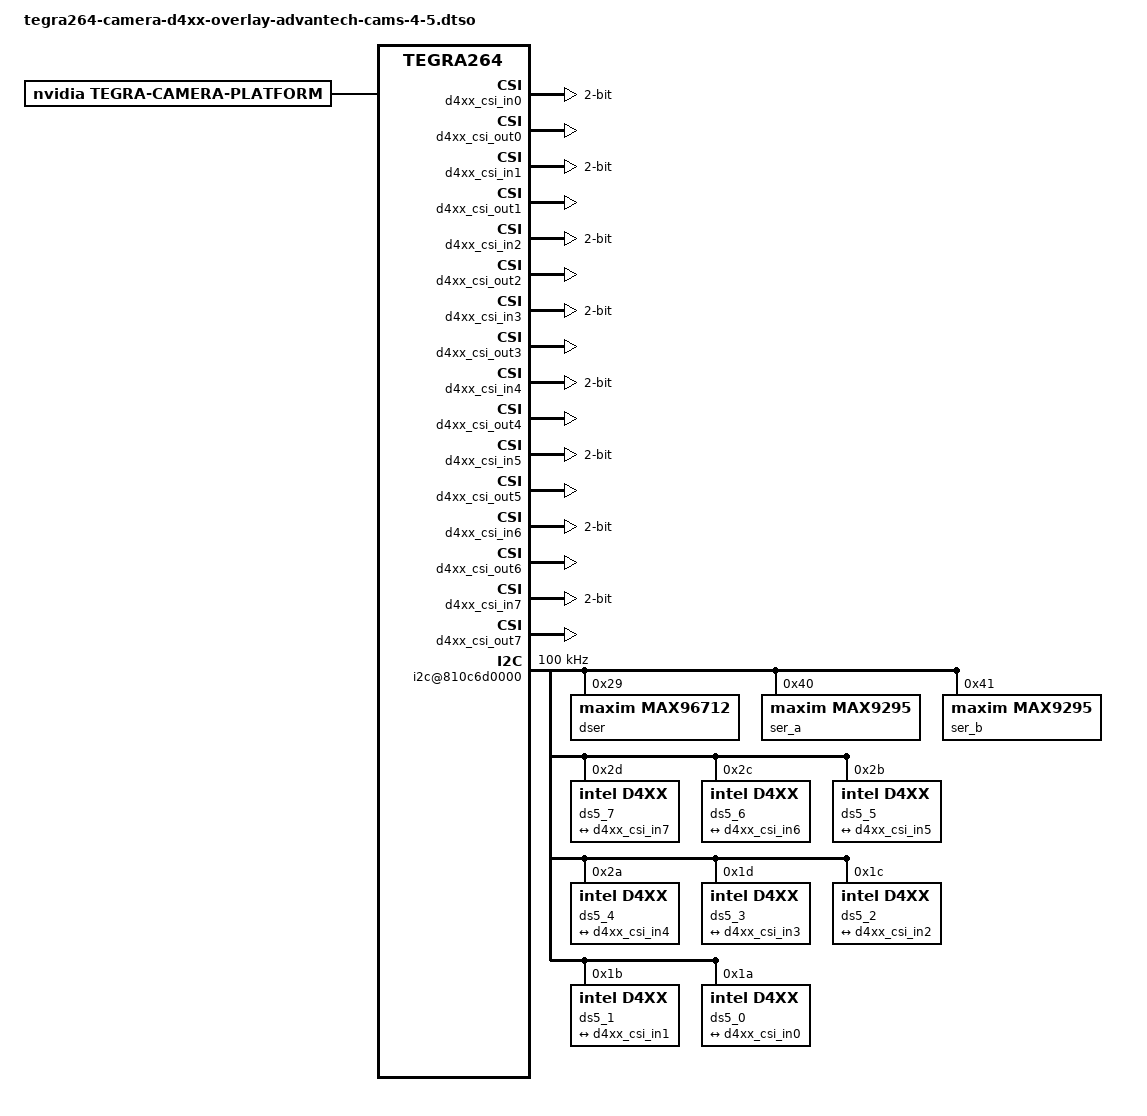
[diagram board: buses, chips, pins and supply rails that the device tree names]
// SPDX-License-Identifier: GPL-2.0-only
// SPDX-FileCopyrightText: Copyright (c) 2018-2023, INTEL CORPORATION.  All rights reserved.

/dts-v1/;
/plugin/;

#include <dt-bindings/gpio/tegra264-gpio.h>

/* camera control gpio definitions */
/ {
	overlay-name = "Jetson two RealSense Cameras D4xx with max96712 Advantech for Thor";
	jetson-header-name = "Jetson AGX CSI Connector";
	compatible = "nvidia,p4071-0000+p3834-0008", "nvidia,p3834-0008", "nvidia,tegra264";

	fragment@0 {
		target-path = "/";
		__overlay__ {
			tegra-capture-vi {
				num-channels = <8>;
				ports {
					status = "okay";
					port@0 {
						status = "okay";
						reg = <0>;
						d4xx_vi_in0: endpoint {
							status = "okay";
							vc-id = <0>;
							port-index = <4>;
							bus-width = <2>;
							remote-endpoint = <&d4xx_csi_out0>;
						};
					};
					port@1 {
						status = "okay";
						reg = <1>;
						d4xx_vi_in1: endpoint {
							status = "okay";
							vc-id = <1>;
							port-index = <4>;
							bus-width = <2>;
							remote-endpoint = <&d4xx_csi_out1>;
						};
					};
					port@2 {
						status = "okay";
						reg = <2>;
						d4xx_vi_in2: endpoint {
							status = "okay";
							vc-id = <2>;
							port-index = <4>;
							bus-width = <2>;
							remote-endpoint = <&d4xx_csi_out2>;
						};
					};
					port@3 {
						status = "okay";
						reg = <3>;
						d4xx_vi_in3: endpoint {
							status = "okay";
							vc-id = <3>;
							port-index = <4>;
							bus-width = <2>;
							remote-endpoint = <&d4xx_csi_out3>;
						};
					};
					port@4 {
						status = "okay";
						reg = <4>;
						d4xx_vi_in4: endpoint {
							status = "okay";
							vc-id = <4>;
							port-index = <4>;
							bus-width = <2>;
							remote-endpoint = <&d4xx_csi_out4>;
						};
					};
					port@5 {
						status = "okay";
						reg = <5>;
						d4xx_vi_in5: endpoint {
							status = "okay";
							vc-id = <5>;
							port-index = <4>;
							bus-width = <2>;
							remote-endpoint = <&d4xx_csi_out5>;
						};
					};
					port@6 {
						status = "okay";
						reg = <6>;
						d4xx_vi_in6: endpoint {
							status = "okay";
							vc-id = <6>;
							port-index = <4>;
							bus-width = <2>;
							remote-endpoint = <&d4xx_csi_out6>;
						};
					};
					port@7 {
						status = "okay";
						reg = <7>;
						d4xx_vi_in7: endpoint {
							status = "okay";
							vc-id = <7>;
							port-index = <4>;
							bus-width = <2>;
							remote-endpoint = <&d4xx_csi_out7>;
						};
					};
				};
			};
			tegra-camera-platform {
				compatible = "nvidia, tegra-camera-platform";
				status = "okay";
				num_csi_lanes = <2>;
				max_lane_speed = <1500000>;
				min_bits_per_pixel = <8>;
				vi_peak_byte_per_pixel = <2>;
				vi_bw_margin_pct = <25>;
				max_pixel_rate = <160000>;
				isp_peak_byte_per_pixel = <5>;
				isp_bw_margin_pct = <25>;
				modules {
					status = "okay";
					module0 {
						status = "okay";
						badge = "d4xx_depth";
						position = "left";
						orientation = "1";
						drivernode0 {
							status = "okay";
							pcl_id = "v4l2_sensor";
							devname = "DS5 mux 12-001a";
							sysfs-device-tree = "/sys/firmware/devicetree/base/bus@0/i2c@810c6d0000/ds5@1a";
						};
					};
					module1 {
						status = "okay";
						badge = "d4xx_rgb";
						position = "left";
						orientation = "1";
						drivernode0 {
							status = "okay";
							pcl_id = "v4l2_sensor";
							devname = "DS5 mux 12-001b";
							sysfs-device-tree = "/sys/firmware/devicetree/base/bus@0/i2c@810c6d0000/ds5@1b";
						};
					};
					module2 {
						status = "okay";
						badge = "d4xx_Y8";
						position = "left";
						orientation = "1";
						drivernode0 {
							status = "okay";
							pcl_id = "v4l2_sensor";
							devname = "DS5 mux 12-001c";
							sysfs-device-tree = "/sys/firmware/devicetree/base/bus@0/i2c@810c6d0000/ds5@1c";
						};
					};
					module3 {
						status = "okay";
						badge = "d4xx_imu";
						position = "left";
						orientation = "1";
						drivernode0 {
							status = "okay";
							pcl_id = "v4l2_sensor";
							devname = "DS5 mux 12-001d";
							sysfs-device-tree = "/sys/firmware/devicetree/base/bus@0/i2c@810c6d0000/ds5@1d";
						};
					};
					module4 {
						status = "okay";
						badge = "d4xx_depth";
						position = "center";
						orientation = "1";
						drivernode0 {
							status = "okay";
							pcl_id = "v4l2_sensor";
							devname = "DS5 mux 12-002a";
							sysfs-device-tree = "/sys/firmware/devicetree/base/bus@0/i2c@810c6d0000/ds5@2a";
						};
					};
					module5 {
						status = "okay";
						badge = "d4xx_rgb";
						position = "center";
						orientation = "1";
						drivernode0 {
							status = "okay";
							pcl_id = "v4l2_sensor";
							devname = "DS5 mux 12-002b";
							sysfs-device-tree = "/sys/firmware/devicetree/base/bus@0/i2c@810c6d0000/ds5@2b";
						};
					};
					module6 {
						status = "okay";
						badge = "d4xx_Y8";
						position = "center";
						orientation = "1";
						drivernode0 {
							status = "okay";
							pcl_id = "v4l2_sensor";
							devname = "DS5 mux 12-002c";
							sysfs-device-tree = "/sys/firmware/devicetree/base/bus@0/i2c@810c6d0000/ds5@2c";
						};
					};
					module7 {
						status = "okay";
						badge = "d4xx_imu";
						position = "center";
						orientation = "1";
						drivernode0 {
							status = "okay";
							pcl_id = "v4l2_sensor";
							devname = "DS5 mux 12-002d";
							sysfs-device-tree = "/sys/firmware/devicetree/base/bus@0/i2c@810c6d0000/ds5@2d";
						};
					};
				};
			};
			bus@0 {
				host1x@8181200000 {
					nvcsi@8188000000 {
						num-channels = <8>;
						channel@0 {
							status = "okay";
							reg = <0>;
							ports {
								status = "okay";
								port@0 {
									status = "okay";
									reg = <0>;
									d4xx_csi_in0: endpoint@0 {
										status = "okay";
										port-index = <4>;
										bus-width = <2>;
										remote-endpoint = <&ds5_0_out>;
									};
								};
								port@1 {
									status = "okay";
									reg = <1>;
									d4xx_csi_out0: endpoint@1 {
										status = "okay";
										remote-endpoint = <&d4xx_vi_in0>;
									};
								};
							};
						};
						channel@1 {
							status = "okay";
							reg = <1>;
							ports {
								status = "okay";
								port@0 {
									status = "okay";
									reg = <0>;
									d4xx_csi_in1: endpoint@2 {
										status = "okay";
										port-index = <4>;
										bus-width = <2>;
										remote-endpoint = <&ds5_1_out>;
									};
								};
								port@1 {
									status = "okay";
									reg = <1>;
									d4xx_csi_out1: endpoint@3 {
										status = "okay";
										remote-endpoint = <&d4xx_vi_in1>;
									};
								};
							};
						};
						channel@2 {
							status = "okay";
							reg = <2>;
							ports {
								status = "okay";
								port@0 {
									status = "okay";
									reg = <0>;
									d4xx_csi_in2: endpoint@4 {
										status = "okay";
										port-index = <4>;
										bus-width = <2>;
										remote-endpoint = <&ds5_2_out>;
									};
								};
								port@1 {
									status = "okay";
									reg = <1>;
									d4xx_csi_out2: endpoint@5 {
										status = "okay";
										remote-endpoint = <&d4xx_vi_in2>;
									};
								};
							};
						};
						channel@3 {
							status = "okay";
							reg = <3>;
							ports {
								status = "okay";
								port@0 {
									status = "okay";
									reg = <0>;
									d4xx_csi_in3: endpoint@6 {
										status = "okay";
										port-index = <4>;
										bus-width = <2>;
										remote-endpoint = <&ds5_3_out>;
									};
								};
								port@1 {
									status = "okay";
									reg = <1>;
									d4xx_csi_out3: endpoint@7 {
										status = "okay";
										remote-endpoint = <&d4xx_vi_in3>;
									};
								};
							};
						};
						channel@4 {
							status = "okay";
							reg = <4>;
							ports {
								status = "okay";
								port@0 {
									status = "okay";
									reg = <0>;
									d4xx_csi_in4: endpoint@8 {
										status = "okay";
										port-index = <4>;
										bus-width = <2>;
										remote-endpoint = <&ds5_4_out>;
									};
								};
								port@1 {
									status = "okay";
									reg = <1>;
									d4xx_csi_out4: endpoint@9 {
										status = "okay";
										remote-endpoint = <&d4xx_vi_in4>;
									};
								};
							};
						};
						channel@5 {
							status = "okay";
							reg = <5>;
							ports {
								status = "okay";
								port@0 {
									status = "okay";
									reg = <0>;
									d4xx_csi_in5: endpoint@10 {
										status = "okay";
										port-index = <4>;
										bus-width = <2>;
										remote-endpoint = <&ds5_5_out>;
									};
								};
								port@1 {
									status = "okay";
									reg = <1>;
									d4xx_csi_out5: endpoint@11 {
										status = "okay";
										remote-endpoint = <&d4xx_vi_in5>;
									};
								};
							};
						};
						channel@6 {
							status = "okay";
							reg = <6>;
							ports {
								status = "okay";
								port@0 {
									status = "okay";
									reg = <0>;
									d4xx_csi_in6: endpoint@12 {
										status = "okay";
										port-index = <4>;
										bus-width = <2>;
										remote-endpoint = <&ds5_6_out>;
									};
								};
								port@1 {
									status = "okay";
									reg = <1>;
									d4xx_csi_out6: endpoint@13 {
										status = "okay";
										remote-endpoint = <&d4xx_vi_in6>;
									};
								};
							};
						};
						channel@7 {
							status = "okay";
							reg = <7>;
							ports {
								status = "okay";
								port@0 {
									status = "okay";
									reg = <0>;
									d4xx_csi_in7: endpoint@14 {
										status = "okay";
										port-index = <4>;
										bus-width = <2>;
										remote-endpoint = <&ds5_7_out>;
									};
								};
								port@1 {
									status = "okay";
									reg = <1>;
									d4xx_csi_out7: endpoint@15 {
										status = "okay";
										remote-endpoint = <&d4xx_vi_in7>;
									};
								};
							};
						};
					};
				};

				i2c@810c6d0000 {
					clock-frequency = <100000>;

					dser: max96712@29 {
						status = "okay";
						reg = <0x29>;
						compatible = "maxim,max96712";
						csi-mode = "2x4";
						link-mask = <0x3>;
						channel = "a";
						force_clk0;
					};

					ser_a: max9295_a@40 {
						status = "okay";
						compatible = "maxim,max9295";
						reg = <0x40>;
						maxim,gmsl-dser-device = <&dser>;
						external_addr_reassign;
					};

					ser_b: max9295_b@41 {
						status = "okay";
						compatible = "maxim,max9295";
						reg = <0x41>;
						maxim,gmsl-dser-device = <&dser>;
						external_addr_reassign;
					};

					ds5_7: ds5@2d {
						status = "okay";
						def-addr = <0x10>;
						reg = <0x2d>;
						override_reg = <0x2a>;
						compatible = "intel,d4xx";
						use_sensor_mode_id = "true";
						cam-type = "IMU";
						nvidia,gmsl-ser-device = <&ser_b>;
						nvidia,gmsl-dser-device = <&dser>;
						ports {
							#address-cells = <1>;
							#size-cells = <0>;

							port@0 {
								reg = <0>;
								ds5_7_out: endpoint {
									vc-id = <7>;
									port-index = <7>;
									bus-width = <2>;
									remote-endpoint = <&d4xx_csi_in7>;
								};
							};
						};
						mode0 {
							pixel_t = "grey_y16";
							num_lanes = "2";
							csi_pixel_bit_depth = "16";
							active_w = "640";
							active_h = "480";
							tegra_sinterface = "serial_b";
							mclk_khz = "24000";
							pix_clk_hz = "74250000";
							line_length = "1280"; /* 2200 */
							embedded_metadata_height = "0";
						};
						gmsl-link {
							src-csi-port = "b";
							dst-csi-port = "a";
							serdes-csi-link = "a";
							csi-mode = "1x4";
							st-vc = <0>;
							vc-id = <7>;
							num-lanes = <2>;
						};
					};

					ds5_6: ds5@2c {
						status = "okay";
						def-addr = <0x10>;
						reg = <0x2c>;
						override_reg = <0x2a>;
						compatible = "intel,d4xx";
						use_sensor_mode_id = "true";
						cam-type = "Y8";
						nvidia,gmsl-ser-device = <&ser_b>;
						nvidia,gmsl-dser-device = <&dser>;
						ports {
							#address-cells = <1>;
							#size-cells = <0>;

							port@0 {
								reg = <0>;
								ds5_6_out: endpoint {
									vc-id = <6>;
									port-index = <6>;
									bus-width = <2>;
									remote-endpoint = <&d4xx_csi_in6>;
								};
							};
						};
						/* mode0: Y8, mode1: depth D16 */
						mode0 {
							pixel_t = "grey_y16";
							num_lanes = "2";
							csi_pixel_bit_depth = "16";
							active_w = "1280";
							active_h = "720";
							tegra_sinterface = "serial_b";
							mclk_khz = "24000";
							pix_clk_hz = "74250000";
							line_length = "1280"; /* 2200 */
							embedded_metadata_height = "1";
						};
						gmsl-link {
							src-csi-port = "b";
							dst-csi-port = "a";
							serdes-csi-link = "a";
							csi-mode = "1x4";
							st-vc = <0>;
							vc-id = <6>;
							num-lanes = <2>;
						};
					};

					ds5_5: ds5@2b {
						status = "okay";
						def-addr = <0x10>;
						reg = <0x2b>;
						override_reg = <0x2a>;
						compatible = "intel,d4xx";
						use_sensor_mode_id = "true";
						cam-type = "RGB";
						nvidia,gmsl-ser-device = <&ser_b>;
						nvidia,gmsl-dser-device = <&dser>;
						ports {
							#address-cells = <1>;
							#size-cells = <0>;

							port@0 {
								reg = <0>;
								ds5_5_out: endpoint {
									vc-id = <5>;
									port-index = <5>;
									bus-width = <2>;
									remote-endpoint = <&d4xx_csi_in5>;
								};
							};
						};
						mode0 {
							pixel_t = "grey_y16";
							num_lanes = "2";
							csi_pixel_bit_depth = "16";
							active_w = "1920";
							active_h = "1080";
							tegra_sinterface = "serial_e";
							mclk_khz = "24000";
							pix_clk_hz = "74250000";
							line_length = "1280"; /* 2200 */
							embedded_metadata_height = "1";
						};
						gmsl-link {
							src-csi-port = "b";
							dst-csi-port = "a";
							serdes-csi-link = "a";
							csi-mode = "1x4";
							st-vc = <0>;
							vc-id = <5>;
							num-lanes = <2>;
						};
					};

					ds5_4: ds5@2a {
						status = "okay";
						def-addr = <0x10>;
						reg = <0x2a>;
						compatible = "intel,d4xx";
						use_sensor_mode_id = "true";
						cam-type = "Depth";
						nvidia,gmsl-ser-device = <&ser_b>;
						nvidia,gmsl-dser-device = <&dser>;
						ports {
							#address-cells = <1>;
							#size-cells = <0>;

							port@0 {
								reg = <0>;
								ds5_4_out: endpoint {
									vc-id = <4>;
									port-index = <4>;
									bus-width = <2>;
									remote-endpoint = <&d4xx_csi_in4>;
								};
							};
						};
						mode0 {
							pixel_t = "grey_y16";
							num_lanes = "2";
							csi_pixel_bit_depth = "16";
							active_w = "1280";
							active_h = "720";
							tegra_sinterface = "serial_a";
							mclk_khz = "24000";
							pix_clk_hz = "74250000";
							line_length = "1280"; /* 2200 */
							embedded_metadata_height = "1";
						};
						gmsl-link {
							src-csi-port = "b";
							dst-csi-port = "a";
							serdes-csi-link = "a";
							csi-mode = "1x4";
							st-vc = <0>;
							vc-id = <4>;
							num-lanes = <2>;
						};
					};

					ds5_3: ds5@1d {
						status = "okay";
						def-addr = <0x10>;
						reg = <0x1d>;
						override_reg = <0x1a>;
						compatible = "intel,d4xx";
						use_sensor_mode_id = "true";
						cam-type = "IMU";
						nvidia,gmsl-ser-device = <&ser_a>;
						nvidia,gmsl-dser-device = <&dser>;
						ports {
							#address-cells = <1>;
							#size-cells = <0>;

							port@0 {
								reg = <0>;
								ds5_3_out: endpoint {
									vc-id = <3>;
									port-index = <3>;
									bus-width = <2>;
									remote-endpoint = <&d4xx_csi_in3>;
								};
							};
						};
						mode0 {
							pixel_t = "grey_y16";
							num_lanes = "2";
							csi_pixel_bit_depth = "16";
							active_w = "640";
							active_h = "480";
							tegra_sinterface = "serial_b";
							mclk_khz = "24000";
							pix_clk_hz = "74250000";
							line_length = "1280"; /* 2200 */
							embedded_metadata_height = "0";
						};
						gmsl-link {
							src-csi-port = "b";
							dst-csi-port = "a";
							serdes-csi-link = "a";
							csi-mode = "1x4";
							st-vc = <0>;
							vc-id = <3>;
							num-lanes = <2>;
						};
					};

					ds5_2: ds5@1c {
						status = "okay";
						def-addr = <0x10>;
						reg = <0x1c>;
						override_reg = <0x1a>;
						compatible = "intel,d4xx";
						use_sensor_mode_id = "true";
						cam-type = "Y8";
						nvidia,gmsl-ser-device = <&ser_a>;
						nvidia,gmsl-dser-device = <&dser>;
						ports {
							#address-cells = <1>;
							#size-cells = <0>;

							port@0 {
								reg = <0>;
								ds5_2_out: endpoint {
									vc-id = <2>;
									port-index = <2>;
									bus-width = <2>;
									remote-endpoint = <&d4xx_csi_in2>;
								};
							};
						};
						/* mode0: Y8, mode1: depth D16 */
						mode0 {
							pixel_t = "grey_y16";
							num_lanes = "2";
							csi_pixel_bit_depth = "16";
							active_w = "1280";
							active_h = "720";
							tegra_sinterface = "serial_b";
							mclk_khz = "24000";
							pix_clk_hz = "74250000";
							line_length = "1280"; /* 2200 */
							embedded_metadata_height = "1";
						};
						gmsl-link {
							src-csi-port = "b";
							dst-csi-port = "a";
							serdes-csi-link = "a";
							csi-mode = "1x4";
							st-vc = <0>;
							vc-id = <2>;
							num-lanes = <2>;
						};
					};

					ds5_1: ds5@1b {
						status = "okay";
						def-addr = <0x10>;
						reg = <0x1b>;
						override_reg = <0x1a>;
						compatible = "intel,d4xx";
						use_sensor_mode_id = "true";
						cam-type = "RGB";
						nvidia,gmsl-ser-device = <&ser_a>;
						nvidia,gmsl-dser-device = <&dser>;
						ports {
							#address-cells = <1>;
							#size-cells = <0>;

							port@0 {
								reg = <0>;
								ds5_1_out: endpoint {
									vc-id = <1>;
									port-index = <1>;
									bus-width = <2>;
									remote-endpoint = <&d4xx_csi_in1>;
								};
							};
						};
						mode0 {
							pixel_t = "grey_y16";
							num_lanes = "2";
							csi_pixel_bit_depth = "16";
							active_w = "1920";
							active_h = "1080";
							tegra_sinterface = "serial_e";
							mclk_khz = "24000";
							pix_clk_hz = "74250000";
							line_length = "1280"; /* 2200 */
							embedded_metadata_height = "1";
						};
						gmsl-link {
							src-csi-port = "b";
							dst-csi-port = "a";
							serdes-csi-link = "a";
							csi-mode = "1x4";
							st-vc = <0>;
							vc-id = <1>;
							num-lanes = <2>;
						};
					};

					ds5_0: ds5@1a {
						status = "okay";
						def-addr = <0x10>;
						reg = <0x1a>;
						compatible = "intel,d4xx";
						use_sensor_mode_id = "true";
						cam-type = "Depth";
						nvidia,gmsl-ser-device = <&ser_a>;
						nvidia,gmsl-dser-device = <&dser>;
						ports {
							#address-cells = <1>;
							#size-cells = <0>;

							port@0 {
								reg = <0>;
								ds5_0_out: endpoint {
									vc-id = <0>;
									port-index = <0>;
									bus-width = <2>;
									remote-endpoint = <&d4xx_csi_in0>;
								};
							};
						};
						mode0 {
							pixel_t = "grey_y16";
							num_lanes = "2";
							csi_pixel_bit_depth = "16";
							active_w = "1280";
							active_h = "720";
							tegra_sinterface = "serial_a";
							mclk_khz = "24000";
							pix_clk_hz = "74250000";
							line_length = "1280"; /* 2200 */
							embedded_metadata_height = "1";
						};
						gmsl-link {
							src-csi-port = "b";
							dst-csi-port = "a";
							serdes-csi-link = "a";
							csi-mode = "1x4";
							st-vc = <0>;
							vc-id = <0>;
							num-lanes = <2>;
						};
					};
				};
			};
		};
	};
};
